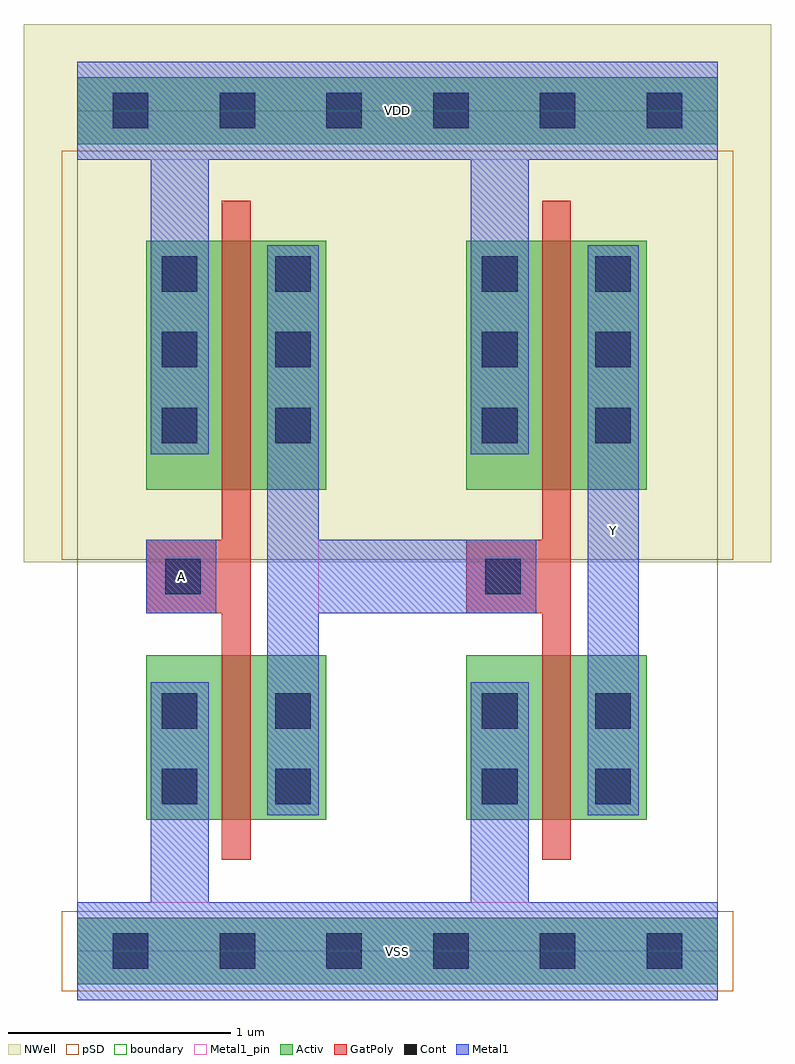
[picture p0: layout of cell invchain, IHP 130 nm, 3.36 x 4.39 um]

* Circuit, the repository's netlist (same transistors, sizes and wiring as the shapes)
.SUBCKT invchain A Y VDD VSS
*.PININFO A:I Y:O VDD:B VSS:B
MN0 n1 A VSS VSS sg13_lv_nmos m=1 w=740.00n l=130.00n ng=1
MP0 n1 A VDD VDD sg13_lv_pmos m=1 w=1.12u l=130.00n ng=1
MN1 Y n1 VSS VSS sg13_lv_nmos m=1 w=740.00n l=130.00n ng=1
MP1 Y n1 VDD VDD sg13_lv_pmos m=1 w=1.12u l=130.00n ng=1
.ENDS

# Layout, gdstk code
import gdstk
lib = gdstk.Library(unit=1e-6, precision=1e-09)
def R(c, l, rs):  # rectangles x0, y0, x1, y1
    for r in rs: c.add(gdstk.rectangle(r[:2], r[2:], *l))
def A(c, l, x, y, w, h, nx, ny, dx, dy):  # array of equal rectangles
    R(c, l, [(x+i*dx, y+j*dy, x+i*dx+w, y+j*dy+h) for i in range(nx) for j in range(ny)])
def P(c, l, *ps):  # polygons
    for p in ps: c.add(gdstk.Polygon(p, *l))
Activ = (1, 0)
GatPoly = (5, 0)
Cont = (6, 0)
Metal1 = (8, 0)
Metal1_pin = (8, 2)
pSD = (14, 0)
NWell = (31, 0)
boundary = (189, 4)

sg13g2_inv_1 = lib.new_cell('sg13g2_inv_1')
R(sg13g2_inv_1, Activ, [(0,-0.15,1.44,0.15), (0.31,0.59,1.12,1.33), (0.31,2.075,1.12,3.195), (0,3.63,1.44,3.93)])
P(sg13g2_inv_1, GatPoly, [(0.65,0.41),(0.65,1.52),(0.31,1.52),(0.31,1.85),(0.65,1.85),(0.65,3.375),(0.78,3.375),(0.78,0.41)])
A(sg13g2_inv_1, Cont, 0.38, 2.285, 0.16, 0.16, 1, 3, 0, 0.34)
A(sg13g2_inv_1, Cont, 0.89, 2.285, 0.16, 0.16, 1, 3, 0, 0.34)
R(sg13g2_inv_1, Cont, [(0.16,-0.08,0.32,0.08), (0.16,-0.08,0.32,0.08), (0.64,-0.08,0.8,0.08), (0.64,-0.08,0.8,0.08), (1.12,-0.08,1.28,0.08), (1.12,-0.08,1.28,0.08), (0.38,0.66,0.54,0.82), (0.89,0.66,1.05,0.82), (0.38,1,0.54,1.16), (0.89,1,1.05,1.16), (0.395,1.605,0.555,1.765), (0.16,3.7,0.32,3.86), (0.16,3.7,0.32,3.86), (0.64,3.7,0.8,3.86), (0.64,3.7,0.8,3.86), (1.12,3.7,1.28,3.86), (1.12,3.7,1.28,3.86)])
R(sg13g2_inv_1, Metal1, [(0.855,0.61,1.085,3.175), (0.31,1.52,0.625,1.85)])
P(sg13g2_inv_1, Metal1, [(0.33,2.235),(0.33,3.56),(0,3.56),(0,4),(1.44,4),(1.44,3.56),(0.59,3.56),(0.59,2.235)],
  [(0,-0.22),(0,0.22),(0.33,0.22),(0.33,1.21),(0.59,1.21),(0.59,0.22),(1.44,0.22),(1.44,-0.22)])
R(sg13g2_inv_1, Metal1_pin, [(0,-0.22,1.44,0.22), (0.855,0.61,1.085,3.175), (0.31,1.52,0.625,1.85), (0,3.56,1.44,4)])
R(sg13g2_inv_1, pSD, [(-0.07,-0.18,1.51,0.18), (-0.07,1.76,1.51,3.6)])
R(sg13g2_inv_1, NWell, [(-0.24,1.75,1.68,4.17)])
R(sg13g2_inv_1, boundary, [(0,0,1.44,3.78)])
sg13g2_inv_1.add(gdstk.Label('Y', (0.98,1.69), layer=8, texttype=25))
sg13g2_inv_1.add(gdstk.Label('A', (0.48,1.68), layer=8, texttype=25))
sg13g2_inv_1.add(gdstk.Label('VSS', (0.72,-0.02), layer=8, texttype=25))
sg13g2_inv_1.add(gdstk.Label('VDD', (0.705,3.78), layer=8, texttype=25))

invchain = lib.new_cell('invchain')
R(invchain, Metal1, [(0,-0.22,2.88,0.22), (2.295,0.61,2.525,3.175), (0.31,1.52,0.625,1.85), (1.085,1.52,1.75,1.85), (0,3.56,2.88,4)])
R(invchain, Metal1_pin, [(0,-0.22,2.88,0.22), (2.295,0.61,2.525,3.175), (0.31,1.52,0.625,1.85), (0,3.56,2.88,4)])
invchain.add(gdstk.Reference(sg13g2_inv_1, (0,0)))
invchain.add(gdstk.Reference(sg13g2_inv_1, (1.44,0)))
invchain.add(gdstk.Label('A', (0.467,1.685), layer=8, texttype=25))
invchain.add(gdstk.Label('Y', (2.41,1.892), layer=8, texttype=25))
invchain.add(gdstk.Label('VDD', (1.44,3.78), layer=8, texttype=25))
invchain.add(gdstk.Label('VSS', (1.44,0), layer=8, texttype=25))

lib.write_gds('invchain.gds')
